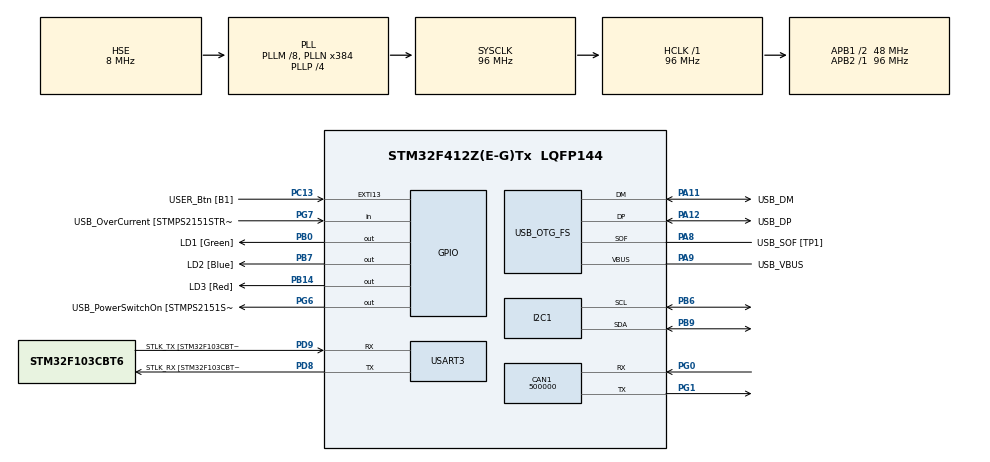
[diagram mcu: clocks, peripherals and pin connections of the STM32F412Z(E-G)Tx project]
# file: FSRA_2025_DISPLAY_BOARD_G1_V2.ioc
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CAN1.ABOM=ENABLE
CAN1.BS1=CAN_BS1_2TQ
CAN1.BS2=CAN_BS2_3TQ
CAN1.CalculateBaudRate=500000
CAN1.CalculateTimeBit=2000
CAN1.CalculateTimeQuantum=333.3333333333333
Mcu.Family=STM32F4
Mcu.Name=STM32F412Z(E-G)Tx
Mcu.Package=LQFP144
NVIC.CAN1_RX0_IRQn=true\:0\:0\:false\:false\:true\:true\:true\:true
NVIC.PriorityGroup=NVIC_PRIORITYGROUP_4
PA10.GPIO_Label=USB_ID
PA10.Signal=USB_OTG_FS_ID
PA11.GPIO_Label=USB_DM
PA11.Mode=Device_Only
PA11.Signal=USB_OTG_FS_DM
PA12.GPIO_Label=USB_DP
PA12.Mode=Device_Only
PA12.Signal=USB_OTG_FS_DP
PA13.GPIO_Label=TMS
PA13.Mode=Serial_Wire
PA13.Signal=SYS_JTMS-SWDIO
PA14.GPIO_Label=TCK
PA14.Mode=Serial_Wire
PA14.Signal=SYS_JTCK-SWCLK
PA8.GPIO_Label=USB_SOF [TP1]
PA8.Mode=Activate_SOF_FS
PA8.Signal=USB_OTG_FS_SOF
PA9.GPIO_Label=USB_VBUS
PA9.Mode=Activate_VBUS
PA9.Signal=USB_OTG_FS_VBUS
PB0.GPIO_Label=LD1 [Green]
PB0.Signal=GPIO_Output
PB14.GPIO_Label=LD3 [Red]
PB14.Signal=GPIO_Output
PB3.GPIO_Label=SWO
PB3.Signal=SYS_JTDO-SWO
PB6.Mode=I2C
PB6.Signal=I2C1_SCL
PB7.GPIO_Label=LD2 [Blue]
PB7.Signal=GPIO_Output
PB9.Mode=I2C
PB9.Signal=I2C1_SDA
PC13.GPIO_Label=USER_Btn [B1]
PC13.Signal=GPXTI13
PC14-OSC32_IN.Mode=LSE-External-Oscillator
PC14-OSC32_IN.Signal=RCC_OSC32_IN
PC15-OSC32_OUT.Mode=LSE-External-Oscillator
PC15-OSC32_OUT.Signal=RCC_OSC32_OUT
PD8.GPIO_Label=STLK_RX [STM32F103CBT6_PA3]
PD8.Mode=Asynchronous
PD8.Signal=USART3_TX
PD9.GPIO_Label=STLK_TX [STM32F103CBT6_PA2]
PD9.Mode=Asynchronous
PD9.Signal=USART3_RX
PG0.GPIO_PuPd=GPIO_PULLUP
PG0.Mode=CAN_Activate
PG0.Signal=CAN1_RX
PG1.Mode=CAN_Activate
PG1.Signal=CAN1_TX
PG6.GPIO_Label=USB_PowerSwitchOn [STMPS2151STR_EN]
PG6.Signal=GPIO_Output
PG7.GPIO_Label=USB_OverCurrent [STMPS2151STR_FAULT]
PG7.Signal=GPIO_Input
PH0\ -\ OSC_IN.GPIO_Label=MCO
PH0\ -\ OSC_IN.Mode=HSE-External-Clock-Source
PH0\ -\ OSC_IN.Signal=RCC_OSC_IN
PH1\ -\ OSC_OUT.Mode=HSE-External-Clock-Source
PH1\ -\ OSC_OUT.Signal=RCC_OSC_OUT
ProjectManager.HeapSize=0x200
ProjectManager.StackSize=0x400
ProjectManager.TargetToolchain=STM32CubeIDE
RCC.48MHZClocksFreq_Value=24000000
RCC.AHBFreq_Value=96000000
RCC.APB1CLKDivider=RCC_HCLK_DIV2
RCC.APB1Freq_Value=48000000
RCC.APB1TimFreq_Value=96000000
RCC.APB2Freq_Value=96000000
RCC.APB2TimFreq_Value=96000000
RCC.CortexFreq_Value=96000000
RCC.HCLKFreq_Value=96000000
RCC.HSE_VALUE=8000000
RCC.HSI_VALUE=16000000
RCC.PLLM=8
RCC.PLLMUL=RCC_PLL_MUL9
RCC.PLLN=384
RCC.PLLP=RCC_PLLP_DIV4
RCC.PLLQ=8
RCC.PRESCALERUSB=RCC_USBCLKSOURCE_PLL_DIV1_5
RCC.SYSCLKFreq_VALUE=96000000
RCC.SYSCLKSource=RCC_SYSCLKSOURCE_PLLCLK
RCC.SYSCLKSourceVirtual=RCC_SYSCLKSOURCE_PLLCLK
RCC.USBFreq_Value=48000000
RCC.VCOOutputFreq_Value=384000000
USART3.VirtualMode=VM_ASYNC
USB_OTG_FS.VirtualMode=Device_Only
board=NUCLEO-F412ZG

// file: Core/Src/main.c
/* USER CODE BEGIN Header */
/**
  ******************************************************************************
  * @file           : main.c
  * @brief          : Main program body
  ******************************************************************************
  * @attention
  *
  * Copyright (c) 2025 STMicroelectronics.
  * All rights reserved.
  *
  * This software is licensed under terms that can be found in the LICENSE file
  * in the root directory of this software component.
  * If no LICENSE file comes with this software, it is provided AS-IS.
  *
  ******************************************************************************
  */
/* USER CODE END Header */
#include "main.h"
#include "can.h"
#include "i2c.h"
#include "usart.h"
#include "usb_otg.h"
#include "gpio.h"

/* USER CODE BEGIN PD */

// adresa LCD ekrana na I2C magistrali
#define SLAVE_ADDRESS_LCD 0x4E

/* USER CODE END PD */

void SystemClock_Config(void);

/* USER CODE BEGIN 0 */
CAN_FilterTypeDef canfilterconfig;
void configureFilter(){
	canfilterconfig.FilterActivation = CAN_FILTER_ENABLE;
	canfilterconfig.FilterBank = 18;  // which filter bank to use from the assigned ones
	canfilterconfig.FilterFIFOAssignment = CAN_FILTER_FIFO0;
	canfilterconfig.FilterIdHigh = 0x123<<5;
	canfilterconfig.FilterIdLow = 0;
	canfilterconfig.FilterMaskIdHigh = 0x123<<5;
	canfilterconfig.FilterMaskIdLow = 0x0000;
	canfilterconfig.FilterMode = CAN_FILTERMODE_IDMASK;
	canfilterconfig.FilterScale = CAN_FILTERSCALE_32BIT;
	canfilterconfig.SlaveStartFilterBank = 20;  // how many filters to assign to the CAN1 (master can)

	HAL_CAN_ConfigFilter(&hcan1, &canfilterconfig);
}

CAN_RxHeaderTypeDef   RxHeader;
uint8_t               RxData[8];

int datacheck = 0;
char buffer[200];
char str[40];

void UART_Print(char *c)
{
	sprintf(buffer, c);
	HAL_UART_Transmit(&huart3, buffer, strlen(buffer), HAL_MAX_DELAY);
	HAL_Delay(1000);
	return;
}

// za prekid - rutina
void HAL_CAN_RxFifo0MsgPendingCallback(CAN_HandleTypeDef *hcan)
{
	if (HAL_CAN_GetRxMessage(hcan, CAN_RX_FIFO0, &RxHeader, RxData) != HAL_OK)
	{
		UART_Print("CAN Error \n");
		Error_Handler();
	}
	if ((RxHeader.StdId == 0x123))
	{
		datacheck = 1;
	}
	//UART_Print((char*)RxHeader.StdId);
	UART_Print("RADI \n");

	return;
}

// za slanje jednog karaktera u 2 ciklusa, jer lcd radi sa 4bitnim vrednostima
void lcd_send_data(char data)
{
	// we want to show data byte on display
    char data_h, data_l;
    uint8_t data_t[4];

    // xxxx0000
    data_h = (data & 0xF0);   		// gornja 4 bita
    data_l = ((data << 4) & 0xF0);

    // OR with control bits
    // EN=1, RS=1, RW=0 - Aktivacija LCD-a za primanje podataka
    // EN=0, RS=1, RW=0 - Deaktivacija LCD-a nakon prijema
    // kada en predje sa 1 na 0, lcd prima podatke
    // rs = 1 -> salju se podaci, rs = 0 znaci da se salje komanda
    data_t[0] = data_h | 0x0D; 		// en=1, rs=1
    data_t[1] = data_h | 0x09; 		// en=0, rs=1
    data_t[2] = data_l | 0x0D; 		// en=1, rs=1
    data_t[3] = data_l | 0x09; 		// en=0, rs=1

    HAL_I2C_Master_Transmit(&hi2c1, SLAVE_ADDRESS_LCD, (uint8_t *) data_t, 4, 100) ;
}

// za slanje komandi
void lcd_send_cmd(char cmd)
{
    char data_u, data_l;
    uint8_t data_t[4];

    data_u = (cmd & 0xF0);
    data_l = ((cmd << 4) & 0xF0);

    // salju se prvo visi biti, pa nizi
    data_t[0] = data_u | 0x0C; // en=1, rs=0
    data_t[1] = data_u | 0x08; // en=0, rs=0
    data_t[2] = data_l | 0x0C; // en=1, rs=0
    data_t[3] = data_l | 0x08; // en=0, rs=0

    HAL_I2C_Master_Transmit(&hi2c1, SLAVE_ADDRESS_LCD, (uint8_t *) data_t, 4, 100);
}

void lcd_init(void) {
    // 4-bit initialization - first set to 8bit - three times as said in datasheet
    HAL_Delay(50); // wait for >40ms to stable voltage
    lcd_send_cmd(0x30);
    HAL_Delay(5); // wait for >4.1ms -> because instructions are slow
    lcd_send_cmd(0x30);
    HAL_Delay(1); // wait for >100us
    lcd_send_cmd(0x30);
    HAL_Delay(10);
    lcd_send_cmd(0x20); // 4-bit mode
    HAL_Delay(10);

    // Display initialization
    // pauze su tu jer ove komande zahtevaju vise vremena
    lcd_send_cmd(0x28); // Function set --> DL=0 (4-bit mode), N = 1 (2 line display) F = 0 (5x8 characters)
    HAL_Delay(1);
    lcd_send_cmd(0x08); // Display on/off control --> D=0 - iskljucuje ekran, C=0 - iskljucuje kursor, B=0 - iskljucuje treperenje kursora
    HAL_Delay(1);
    lcd_send_cmd(0x01); // Clear display
    HAL_Delay(1);
    lcd_send_cmd(0x06); // Entry mode set --> I/D = 1 (increment cursor - ide desno nakon svakog karaktera) & S = 0 (no shift- da se display ne pomera, vec samo kursor)
    HAL_Delay(1);
    lcd_send_cmd(0x0F); // 0x0C - Display on - samo ukljuci ekran ( 0x0E za kursor i 0x0F za kursor koji treperi)
}

void lcd_clear()
{
	lcd_send_cmd(0x80);
	for (int i=0; i<70; i++)
	{
		lcd_send_data(' ');
	}
}

void lcd_send_string(char *str)
{
    while (*str) lcd_send_data(*str++);
}

void setCursor(int a, int b)
{
    switch (b)
    {
        case 0: b = 0x80; break;
        case 1: b = 0xC0; break;
    }
    lcd_send_cmd(b);
    lcd_send_cmd(a);
}

void writeOnLCD(float aCCx, float aCCy, float aCCz)
{
	sprintf(buffer, "CAN X: %.2f", aCCx);
	setCursor(0, 0);
    lcd_send_string(buffer);
    HAL_Delay(500);
    sprintf(buffer, "CAN Y: %.2f", aCCy);
	setCursor(0, 1);
	lcd_send_string(buffer);
	HAL_Delay(500);
    sprintf(buffer, "CAN Z: %.2f", aCCz);
    setCursor(0, 0);
    lcd_send_string(buffer);
    HAL_Delay(500);
    lcd_clear();
}

/* USER CODE END 0 */

int main(void)
{

  /* USER CODE BEGIN 1 */

	// dokumentacija za plocu
	//https://www.st.com/resource/en/user_manual/um1974-stm32-nucleo144-boards-mb1137-stmicroelectronics.pdf

  /* USER CODE END 1 */

  /* MCU Configuration--------------------------------------------------------*/

  /* Reset of all peripherals, Initializes the Flash interface and the Systick. */
  HAL_Init();

  /* Configure the system clock */
  SystemClock_Config();

  /* Initialize all configured peripherals */
  MX_GPIO_Init();
  MX_USART3_UART_Init();
  MX_USB_OTG_FS_PCD_Init();
  MX_CAN1_Init();
  MX_I2C1_Init();
  /* USER CODE BEGIN 2 */

  configureFilter();

  if (HAL_CAN_Start(&hcan1) != HAL_OK)
  {
	  Error_Handler();
	  UART_Print("CAN Error Starting \n");
  }
  else
  {
	  UART_Print("CAN Started \n");
  }

//  if (HAL_CAN_ActivateNotification(&hcan1, CAN_IT_RX_FIFO0_MSG_PENDING) != HAL_OK)
//	{
//	  Error_Handler();
//	  UART_Print("CAN Error Interrupts \n");
//	}
//  else{
//	  UART_Print("CAN Interrupts Enabled \n");
//  }

  lcd_init();
  // video for LCD display connected to i2c prootcol
  // https://www.youtube.com/watch?v=rfRJGfK2t-A
  // documentation for display
  // https://www.openhacks.com/uploadsproductos/eone-1602a1.pdf
  // https://www.ti.com/lit/ds/symlink/pcf8574.pdf

  /* USER CODE END 2 */

  /* Infinite loop */
  while (1)
  {

    /* USER CODE BEGIN 3 */

	  // write LCD
//	  setCursor(0, 0);
//	  lcd_send_string("aaa");
//	  HAL_Delay(1000);
//	  setCursor(0, 1);
//	  lcd_send_string("bbbb");
//	  HAL_Delay(1000);

	  // busy wait
	  while(HAL_CAN_GetRxFifoFillLevel(&hcan1, CAN_RX_FIFO0) == 0)
	  {
		  UART_Print("CAN Waiting \n");
	  };

	  if(HAL_CAN_GetRxFifoFillLevel(&hcan1, CAN_RX_FIFO0) != 0)
	  {
		  if (HAL_CAN_GetRxMessage(&hcan1, CAN_RX_FIFO0, &RxHeader, RxData) != HAL_OK)
		  {
			UART_Print("CAN Error \n");
			Error_Handler();
		  }
		  else
		  {
			  int16_t tmp = ((uint16_t) RxData[1] << 8) | RxData[0];
			  float aCCx = (float)(tmp) / 100.0f;
			  tmp = ((uint16_t) RxData[3] << 8) | RxData[2];
			  float aCCy = (float)(tmp) / 100.0f;
			  tmp = ((uint16_t) RxData[5] << 8) | RxData[4];
			  float aCCz = (float)(tmp) / 100.0f;

			  writeOnLCD(aCCx, aCCy, aCCz);
			  sprintf(buffer,
			      "----------------\n"
			      "CAN Data[0]: %d\n"
			      "CAN Data[1]: %d\n"
			      "CAN Data[2]: %d\n"
			      "CAN Data[3]: %d\n"
			      "CAN Data[4]: %d\n"
			      "CAN Data[5]: %d\n"
			      "CAN Data[6]: %d\n"
			      "CAN Data[7]: %d\n"
				  "CAN X: %.2f\n"
				  "CAN Y: %.2f\n"
				  "CAN Z: %.2f\n",
			      (uint8_t) RxData[0],
			      (uint8_t) RxData[1],
			      (uint8_t) RxData[2],
			      (uint8_t) RxData[3],
			      (uint8_t) RxData[4],
			      (uint8_t) RxData[5],
			      (uint8_t) RxData[6],
			      (uint8_t) RxData[7],
				  aCCx, aCCy, aCCz);

			  HAL_UART_Transmit(&huart3, buffer, strlen(buffer), HAL_MAX_DELAY);
		  }
	  }

	  // za prekid
//	  while(datacheck == 0){
//		  UART_Print("CAN Waiting \n");
//	  }
//	  if(datacheck == 1) {
//		  UART_Print("CAN Works \n");
//	  }
	  HAL_Delay(500);
  }
  /* USER CODE END 3 */
}

void SystemClock_Config(void)
{
  RCC_OscInitTypeDef RCC_OscInitStruct = {0};
  RCC_ClkInitTypeDef RCC_ClkInitStruct = {0};

  /** Configure the main internal regulator output voltage
  */
  __HAL_RCC_PWR_CLK_ENABLE();
  __HAL_PWR_VOLTAGESCALING_CONFIG(PWR_REGULATOR_VOLTAGE_SCALE1);

  /** Initializes the RCC Oscillators according to the specified parameters
  * in the RCC_OscInitTypeDef structure.
  */
  RCC_OscInitStruct.OscillatorType = RCC_OSCILLATORTYPE_HSE;
  RCC_OscInitStruct.HSEState = RCC_HSE_BYPASS;
  RCC_OscInitStruct.PLL.PLLState = RCC_PLL_ON;
  RCC_OscInitStruct.PLL.PLLSource = RCC_PLLSOURCE_HSE;
  RCC_OscInitStruct.PLL.PLLM = 8;
  RCC_OscInitStruct.PLL.PLLN = 384;
  RCC_OscInitStruct.PLL.PLLP = RCC_PLLP_DIV4;
  RCC_OscInitStruct.PLL.PLLQ = 8;
  RCC_OscInitStruct.PLL.PLLR = 2;
  if (HAL_RCC_OscConfig(&RCC_OscInitStruct) != HAL_OK)
  {
    Error_Handler();
  }

  /** Initializes the CPU, AHB and APB buses clocks
  */
  RCC_ClkInitStruct.ClockType = RCC_CLOCKTYPE_HCLK|RCC_CLOCKTYPE_SYSCLK
                              |RCC_CLOCKTYPE_PCLK1|RCC_CLOCKTYPE_PCLK2;
  RCC_ClkInitStruct.SYSCLKSource = RCC_SYSCLKSOURCE_PLLCLK;
  RCC_ClkInitStruct.AHBCLKDivider = RCC_SYSCLK_DIV1;
  RCC_ClkInitStruct.APB1CLKDivider = RCC_HCLK_DIV2;
  RCC_ClkInitStruct.APB2CLKDivider = RCC_HCLK_DIV1;

  if (HAL_RCC_ClockConfig(&RCC_ClkInitStruct, FLASH_LATENCY_3) != HAL_OK)
  {
    Error_Handler();
  }
}

void Error_Handler(void)
{
  __disable_irq();
  while (1)
  {
  }
}
